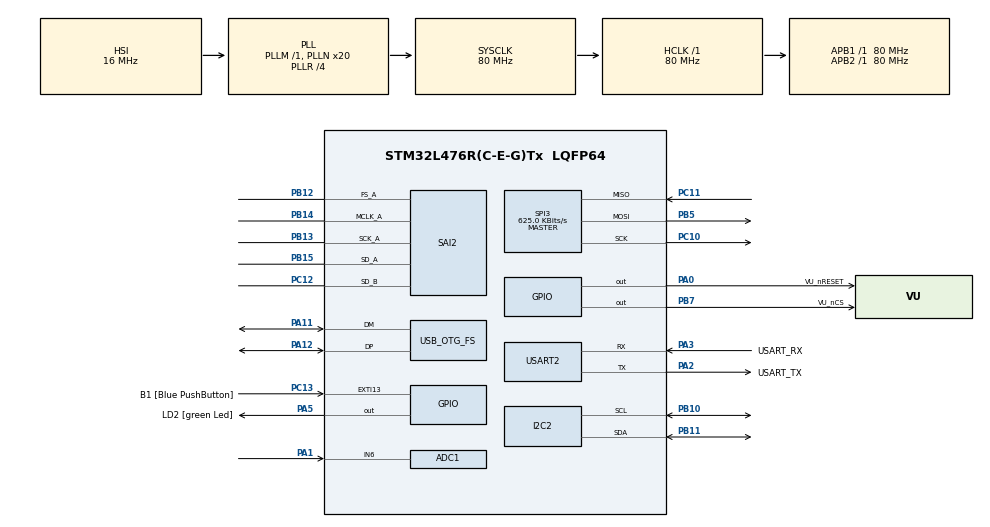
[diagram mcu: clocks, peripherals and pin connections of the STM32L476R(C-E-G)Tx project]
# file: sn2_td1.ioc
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ADC1.Channel-0\#ChannelRegularConversion=ADC_CHANNEL_6
ADC1.NbrOfConversionFlag=1
ADC1.OffsetNumber-0\#ChannelRegularConversion=ADC_OFFSET_NONE
ADC1.Rank-0\#ChannelRegularConversion=1
ADC1.SamplingTime-0\#ChannelRegularConversion=ADC_SAMPLETIME_92CYCLES_5
ADC1.master=1
I2C2.Timing=0x10909CEC
Mcu.Family=STM32L4
Mcu.Name=STM32L476R(C-E-G)Tx
Mcu.Package=LQFP64
NVIC.ADC1_2_IRQn=true\:0\:0\:false\:false\:true\:true\:true\:true
NVIC.PriorityGroup=NVIC_PRIORITYGROUP_4
NVIC.TIM6_DAC_IRQn=true\:0\:0\:false\:false\:true\:true\:true\:true
NVIC.USART2_IRQn=true\:0\:0\:false\:false\:true\:true\:true\:true
PA0.GPIO_Label=VU_nRESET
PA0.PinState=GPIO_PIN_SET
PA0.Signal=GPIO_Output
PA1.Signal=ADCx_IN6
PA11.Mode=Device_Only
PA11.Signal=USB_OTG_FS_DM
PA12.Mode=Device_Only
PA12.Signal=USB_OTG_FS_DP
PA13\ (JTMS-SWDIO).GPIO_Label=TMS
PA13\ (JTMS-SWDIO).Mode=Serial_Wire
PA13\ (JTMS-SWDIO).Signal=SYS_JTMS-SWDIO
PA14\ (JTCK-SWCLK).GPIO_Label=TCK
PA14\ (JTCK-SWCLK).Mode=Serial_Wire
PA14\ (JTCK-SWCLK).Signal=SYS_JTCK-SWCLK
PA2.GPIO_Label=USART_TX
PA2.GPIO_Mode=GPIO_MODE_AF_PP
PA2.GPIO_PuPd=GPIO_NOPULL
PA2.GPIO_Speed=GPIO_SPEED_FREQ_VERY_HIGH
PA2.Mode=Asynchronous
PA2.Signal=USART2_TX
PA3.GPIO_Label=USART_RX
PA3.GPIO_Mode=GPIO_MODE_AF_PP
PA3.GPIO_PuPd=GPIO_NOPULL
PA3.GPIO_Speed=GPIO_SPEED_FREQ_VERY_HIGH
PA3.Mode=Asynchronous
PA3.Signal=USART2_RX
PA5.GPIO_Label=LD2 [green Led]
PA5.GPIO_ModeDefaultOutputPP=GPIO_MODE_OUTPUT_PP
PA5.GPIO_PuPd=GPIO_NOPULL
PA5.GPIO_Speed=GPIO_SPEED_FREQ_LOW
PA5.Signal=GPIO_Output
PB10.Mode=I2C
PB10.Signal=I2C2_SCL
PB11.Mode=I2C
PB11.Signal=I2C2_SDA
PB12.Mode=SAI_A_MasterWithClock
PB12.Signal=SAI2_FS_A
PB13.Mode=SAI_A_MasterWithClock
PB13.Signal=SAI2_SCK_A
PB14.Mode=SAI_A_MasterWithClock
PB14.Signal=SAI2_MCLK_A
PB15.Mode=SAI_A_MasterWithClock
PB15.Signal=SAI2_SD_A
PB3\ (JTDO-TRACESWO).GPIO_Label=SWO
PB3\ (JTDO-TRACESWO).Signal=SYS_JTDO-SWO
PB5.Mode=Full_Duplex_Master
PB5.Signal=SPI3_MOSI
PB7.GPIO_Label=VU_nCS
PB7.PinState=GPIO_PIN_SET
PB7.Signal=GPIO_Output
PC10.Mode=Full_Duplex_Master
PC10.Signal=SPI3_SCK
PC11.Mode=Full_Duplex_Master
PC11.Signal=SPI3_MISO
PC12.Mode=SAI_B_SyncSlave
PC12.Signal=SAI2_SD_B
PC13.GPIO_Label=B1 [Blue PushButton]
PC13.GPIO_ModeDefaultEXTI=GPIO_MODE_IT_FALLING
PC13.GPIO_PuPd=GPIO_NOPULL
PC13.Signal=GPXTI13
PC14-OSC32_IN\ (PC14).Mode=LSE-External-Oscillator
PC14-OSC32_IN\ (PC14).Signal=RCC_OSC32_IN
PC15-OSC32_OUT\ (PC15).Mode=LSE-External-Oscillator
PC15-OSC32_OUT\ (PC15).Signal=RCC_OSC32_OUT
PH0-OSC_IN\ (PH0).Signal=RCC_OSC_IN
PH1-OSC_OUT\ (PH1).Signal=RCC_OSC_OUT
ProjectManager.HeapSize=0x200
ProjectManager.StackSize=0x400
ProjectManager.TargetToolchain=STM32CubeIDE
RCC.ADCCLockSelection=RCC_ADCCLKSOURCE_PLLSAI2
RCC.ADCFreq_Value=64000000
RCC.AHBFreq_Value=80000000
RCC.APB1Freq_Value=80000000
RCC.APB1TimFreq_Value=80000000
RCC.APB2Freq_Value=80000000
RCC.APB2TimFreq_Value=80000000
RCC.CK48CLockSelection=RCC_USBCLKSOURCE_MSI
RCC.CortexFreq_Value=80000000
RCC.HCLKFreq_Value=80000000
RCC.HSE_VALUE=8000000
RCC.HSI_VALUE=16000000
RCC.MSIClockRange=RCC_MSIRANGE_11
RCC.MSI_VALUE=48000000
RCC.PLLN=20
RCC.PLLR=RCC_PLLR_DIV4
RCC.PLLSAI1N=13
RCC.PLLSAI1P=RCC_PLLP_DIV17
RCC.PLLSAI1R=RCC_PLLR_DIV6
RCC.PLLSourceVirtual=RCC_PLLSOURCE_HSI
RCC.PREFETCH_ENABLE=1
RCC.SYSCLKFreq_VALUE=80000000
RCC.SYSCLKSource=RCC_SYSCLKSOURCE_PLLCLK
RCC.USBFreq_Value=48000000
RCC.VCOOutputFreq_Value=320000000
SAI2.AudioFrequency-SAI_A_MasterWithClock=SAI_AUDIO_FREQUENCY_48K
SAI2.ErrorAudioFreq-SAI_A_MasterWithClock=-0.42 %
SAI2.InitProtocol-SAI_A_MasterWithClock=Enable
SAI2.InitProtocol-SAI_B_SyncSlave=Enable
SAI2.Instance-SAI_A_MasterWithClock=SAI$Index_Block_A
SAI2.Instance-SAI_B_SyncSlave=SAI$Index_Block_B
SAI2.MClockEnable-SAI_A_MasterWithClock=SAI_MASTERCLOCK_ENABLE
SAI2.RealAudioFreq-SAI_A_MasterWithClock=47.794 KHz
SAI2.VirtualMode-SAI_A_MasterWithClock=VM_MASTER
SAI2.VirtualMode-SAI_B_SyncSlave=VM_SLAVE
SAI2.VirtualProtocol-SAI_A_BASIC=VM_BASIC_PROTOCOL
SAI2.VirtualProtocol-SAI_B_BASIC=VM_BASIC_PROTOCOL
SH.ADCx_IN6.0=ADC1_IN6,IN6-Single-Ended
SPI3.BaudRatePrescaler=SPI_BAUDRATEPRESCALER_128
SPI3.CalculateBaudRate=625.0 KBits/s
SPI3.DataSize=SPI_DATASIZE_8BIT
SPI3.Direction=SPI_DIRECTION_2LINES
SPI3.Mode=SPI_MODE_MASTER
SPI3.VirtualType=VM_MASTER
TIM2.Prescaler=1999
TIM6.Period=1999
USART2.VirtualMode-Asynchronous=VM_ASYNC
USART2.WordLength=WORDLENGTH_8B
USB_OTG_FS.VirtualMode=Device_Only
VP_SAI2_VP_$IpInstance_SAIA_SAI_BASIC.Mode=SAI_A_BASIC
VP_SAI2_VP_$IpInstance_SAIB_SAI_BASIC.Mode=SAI_B_BASIC
VP_TIM2_VS_ClockSourceINT.Mode=Internal
VP_TIM6_VS_ClockSourceINT.Mode=Enable_Timer
board=NUCLEO-L476RG

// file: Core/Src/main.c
/* USER CODE BEGIN Header */
/**
 ******************************************************************************
 * @file           : main.c
 * @brief          : Main program body
 ******************************************************************************
 * @attention
 *
 * Copyright (c) 2024 STMicroelectronics.
 * All rights reserved.
 *
 * This software is licensed under terms that can be found in the LICENSE file
 * in the root directory of this software component.
 * If no LICENSE file comes with this software, it is provided AS-IS.
 *
 ******************************************************************************
 */
/* USER CODE END Header */
#include "main.h"
#include "adc.h"
#include "i2c.h"
#include "sai.h"
#include "spi.h"
#include "tim.h"
#include "usart.h"
#include "usb_otg.h"
#include "gpio.h"

/* USER CODE BEGIN Includes */
#include <stdio.h>
#include "vu_meter.h"
#include "sgtl5000.h"
/* USER CODE END Includes */

/* USER CODE BEGIN PM */
#define CLI_BUFFER_LENGTH 40
/* USER CODE END PM */

/* USER CODE BEGIN PV */
static uint8_t uart2_data;
static h_vu_t h_vu;
static char cli_buffer[CLI_BUFFER_LENGTH];
static uint32_t cli_it = 0;
/* USER CODE END PV */

void SystemClock_Config(void);
void PeriphCommonClock_Config(void);

/* USER CODE BEGIN 0 */
int _write(int file, char *ptr, int len)
{
	HAL_UART_Transmit(&huart2, (uint8_t *) ptr, (uint16_t)len, HAL_MAX_DELAY);

	return len;
}

void cli_vu_meter(char * buffer)
{
	int i = 2;
	int port;
	int led;
	int value;

	// Lecture du port
	if (buffer[i] == '0')
	{
		port = 0;
	}
	else if (buffer[i] == '1')
	{
		port = 1;
	}
	else
	{
		printf("Error\r\n");
		return;
	}

	i += 2;

	// Lecture de la LED
	char * ptr;
	ptr = &(buffer[i]);

	while(buffer[i] != ' ')
	{
		i++;
	}

	buffer[i] = '\0';

	led = atoi(ptr);

	i++;

	if (buffer[i] == '0')
	{
		value = 0;
	}
	else if (buffer[i] == '1')
	{
		value = 1;
	}
	else
	{
		printf("Error\r\n");
		return;
	}

	printf("port = %d\r\n", port);
	printf("led = %d\r\n", led);
	printf("value = %d\r\n", value);

	vu_led(&h_vu, port, led, value);
}

void HAL_UART_RxCpltCallback(UART_HandleTypeDef *huart)
{
	// Appui sur entrée = 13
	if (uart2_data != 13)
	{
		if (cli_it < CLI_BUFFER_LENGTH - 1)
			// - 1 parce qu'on laisse de la place pour le caractère '\0'
		{
			HAL_UART_Transmit(&huart2, &uart2_data, 1, HAL_MAX_DELAY);
			cli_buffer[cli_it] = uart2_data;
			cli_it++;
		}
	}
	else
	{
		cli_buffer[cli_it] = '\0';	// Caractère '\0' obligatoire pour bien terminer la chaine de caractères
		printf("\r\n:%s\r\n", cli_buffer);

		switch(cli_buffer[0])
		{
		case 'v':
			cli_vu_meter(cli_buffer);
			break;
		default:
			printf("Unknown command\r\n");
			break;
		}

		cli_it = 0;	// Pour redémarrer à 0
		printf("> ");
		fflush(stdout);
		for (int i = 0 ; i < CLI_BUFFER_LENGTH ; i++)
		{
			// Vider le buffer pour plus de sécurité
			cli_buffer[i] = 0;
		}
	}

	HAL_UART_Receive_IT(&huart2, &uart2_data, 1);
}
/* USER CODE END 0 */

int main(void)
{

	/* MCU Configuration--------------------------------------------------------*/

	/* Reset of all peripherals, Initializes the Flash interface and the Systick. */
	HAL_Init();

	/* Configure the system clock */
	SystemClock_Config();

	/* Configure the peripherals common clocks */
	PeriphCommonClock_Config();

	/* Initialize all configured peripherals */
	MX_GPIO_Init();
	MX_USART2_UART_Init();
	MX_SPI3_Init();
	MX_ADC1_Init();
	MX_TIM2_Init();
	MX_TIM6_Init();
	MX_USB_OTG_FS_PCD_Init();
	MX_I2C2_Init();
	MX_SAI2_Init();
	/* USER CODE BEGIN 2 */
	printf("\r\n=============================================================\r\n");
	printf("> ");
	fflush(stdout);

	// Démarre MCLK (horloge principale du CODEC SGTL5000, générée par le STM32)
	__HAL_SAI_ENABLE(&hsai_BlockA2);

	// Address : 0n01010(R/W)
	// n = 0 (voir schéma)
	// R/W = 0, parce que c'est comme ça
	// Address : 00010100 = 0x14

	sgtl5000_init();

	while(1);	// Juste pour ne pas exécuter la suite

	vu_init(&h_vu, &hspi3);
	vu_blink(&h_vu);

	HAL_UART_Receive_IT(&huart2, &uart2_data, 1);

	/* USER CODE END 2 */

	/* Infinite loop */
	/* USER CODE BEGIN WHILE */
	while (1)
	{
		HAL_ADC_Start(&hadc1);
		HAL_ADC_PollForConversion(&hadc1, HAL_MAX_DELAY);
		uint16_t adc_data = HAL_ADC_GetValue(&hadc1);
		printf("                 \r");
		printf("adc data = %d\r", adc_data/512);
		fflush(stdout);

		// Fournit un nombre entre 0 et 15
		uint8_t seuil = adc_data/256;

		// Décide quelles LED allumer en fonction
		for (int i = 0 ; i < 16 ; i++)
		{
			uint8_t port = 0;
			uint8_t led = i;
			if (i >= 8)
			{
				led = i - 8;
				port = 1;
			}
			// pour chaque LED, on décide si elle est allumée ou éteinte
			// i représente la LED sur laquelle on prend une décision
			if (i <= seuil)
			{
				// Allume la LED
				vu_led(&h_vu, port, led, 1);
			}
			else
			{
				// Éteind la LED
				vu_led(&h_vu, port, led, 0);
			}
		}

		HAL_Delay(100);

#ifdef EXO1
		// Fournit un nombre entre 0 et 7
		uint8_t led = adc_data/512;

		// Décide quelles LED allumer en fonction
		for (int i = 0 ; i < 8 ; i++)
		{
			// pour chaque LED, on décide si elle est allumée ou éteinte
			// i représente la LED sur laquelle on prend une décision
			if (i <= led)
			{
				// Allume la LED
				vu_led(&h_vu, 0, i, 1);
			}
			else
			{
				// Éteind la LED
				vu_led(&h_vu, 0, i, 0);
			}
		}

		HAL_Delay(100);
#endif

#ifdef UART_POLLING
		uint8_t valeur;
		HAL_UART_Receive(&huart2, &valeur, 1, 1000);
		HAL_UART_Transmit(&huart2, &valeur, 1, HAL_MAX_DELAY);
#endif //UART_POLLING

#ifdef LED
		if (HAL_GPIO_ReadPin(B1_GPIO_Port, B1_Pin) == GPIO_PIN_RESET)
		{
			HAL_GPIO_TogglePin(LD2_GPIO_Port, LD2_Pin);
			HAL_Delay(100);	// 100ms : 10Hz
		}
		else
		{
			HAL_GPIO_WritePin(LD2_GPIO_Port, LD2_Pin, GPIO_PIN_RESET);
		}
#endif //LED
		/* USER CODE END WHILE */

		/* USER CODE BEGIN 3 */

		// Ou là !
	}

	/* USER CODE END 3 */
}

void SystemClock_Config(void)
{
	RCC_OscInitTypeDef RCC_OscInitStruct = {0};
	RCC_ClkInitTypeDef RCC_ClkInitStruct = {0};

	/** Configure the main internal regulator output voltage
	 */
	if (HAL_PWREx_ControlVoltageScaling(PWR_REGULATOR_VOLTAGE_SCALE1) != HAL_OK)
	{
		Error_Handler();
	}

	/** Configure LSE Drive Capability
	 */
	HAL_PWR_EnableBkUpAccess();
	__HAL_RCC_LSEDRIVE_CONFIG(RCC_LSEDRIVE_LOW);

	/** Initializes the RCC Oscillators according to the specified parameters
	 * in the RCC_OscInitTypeDef structure.
	 */
	RCC_OscInitStruct.OscillatorType = RCC_OSCILLATORTYPE_HSI|RCC_OSCILLATORTYPE_LSE
			|RCC_OSCILLATORTYPE_MSI;
	RCC_OscInitStruct.LSEState = RCC_LSE_ON;
	RCC_OscInitStruct.HSIState = RCC_HSI_ON;
	RCC_OscInitStruct.HSICalibrationValue = RCC_HSICALIBRATION_DEFAULT;
	RCC_OscInitStruct.MSIState = RCC_MSI_ON;
	RCC_OscInitStruct.MSICalibrationValue = 0;
	RCC_OscInitStruct.MSIClockRange = RCC_MSIRANGE_11;
	RCC_OscInitStruct.PLL.PLLState = RCC_PLL_ON;
	RCC_OscInitStruct.PLL.PLLSource = RCC_PLLSOURCE_HSI;
	RCC_OscInitStruct.PLL.PLLM = 1;
	RCC_OscInitStruct.PLL.PLLN = 20;
	RCC_OscInitStruct.PLL.PLLP = RCC_PLLP_DIV7;
	RCC_OscInitStruct.PLL.PLLQ = RCC_PLLQ_DIV2;
	RCC_OscInitStruct.PLL.PLLR = RCC_PLLR_DIV4;
	if (HAL_RCC_OscConfig(&RCC_OscInitStruct) != HAL_OK)
	{
		Error_Handler();
	}

	/** Initializes the CPU, AHB and APB buses clocks
	 */
	RCC_ClkInitStruct.ClockType = RCC_CLOCKTYPE_HCLK|RCC_CLOCKTYPE_SYSCLK
			|RCC_CLOCKTYPE_PCLK1|RCC_CLOCKTYPE_PCLK2;
	RCC_ClkInitStruct.SYSCLKSource = RCC_SYSCLKSOURCE_PLLCLK;
	RCC_ClkInitStruct.AHBCLKDivider = RCC_SYSCLK_DIV1;
	RCC_ClkInitStruct.APB1CLKDivider = RCC_HCLK_DIV1;
	RCC_ClkInitStruct.APB2CLKDivider = RCC_HCLK_DIV1;

	if (HAL_RCC_ClockConfig(&RCC_ClkInitStruct, FLASH_LATENCY_4) != HAL_OK)
	{
		Error_Handler();
	}

	/** Enable MSI Auto calibration
	 */
	HAL_RCCEx_EnableMSIPLLMode();
}

void PeriphCommonClock_Config(void)
{
	RCC_PeriphCLKInitTypeDef PeriphClkInit = {0};

	/** Initializes the peripherals clock
	 */
	PeriphClkInit.PeriphClockSelection = RCC_PERIPHCLK_SAI2;
	PeriphClkInit.Sai2ClockSelection = RCC_SAI2CLKSOURCE_PLLSAI1;
	PeriphClkInit.PLLSAI1.PLLSAI1Source = RCC_PLLSOURCE_HSI;
	PeriphClkInit.PLLSAI1.PLLSAI1M = 1;
	PeriphClkInit.PLLSAI1.PLLSAI1N = 13;
	PeriphClkInit.PLLSAI1.PLLSAI1P = RCC_PLLP_DIV17;
	PeriphClkInit.PLLSAI1.PLLSAI1Q = RCC_PLLQ_DIV2;
	PeriphClkInit.PLLSAI1.PLLSAI1R = RCC_PLLR_DIV6;
	PeriphClkInit.PLLSAI1.PLLSAI1ClockOut = RCC_PLLSAI1_SAI1CLK;
	if (HAL_RCCEx_PeriphCLKConfig(&PeriphClkInit) != HAL_OK)
	{
		Error_Handler();
	}
}

void Error_Handler(void)
{
	/* USER CODE BEGIN Error_Handler_Debug */
	/* User can add his own implementation to report the HAL error return state */
	__disable_irq();

	HAL_GPIO_WritePin(LD2_GPIO_Port, LD2_Pin, GPIO_PIN_SET);

	while (1)
	{
	}
	/* USER CODE END Error_Handler_Debug */
}
